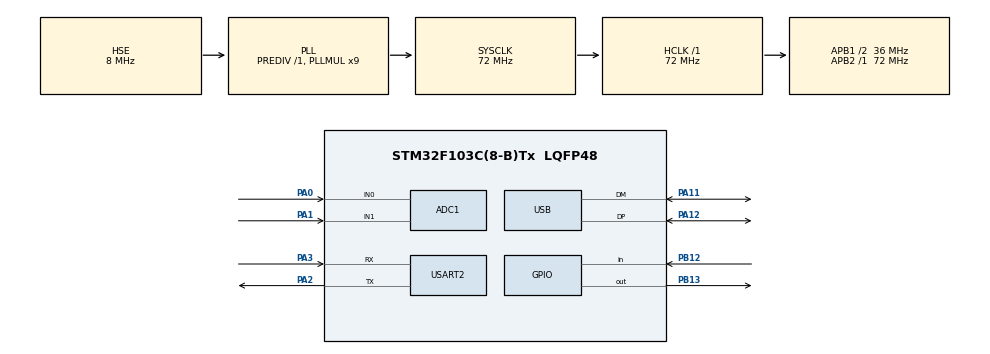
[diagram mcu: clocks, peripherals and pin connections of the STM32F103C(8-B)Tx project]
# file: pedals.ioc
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ADC1.Channel-3\#ChannelRegularConversion=ADC_CHANNEL_0
ADC1.Channel-4\#ChannelRegularConversion=ADC_CHANNEL_1
ADC1.ContinuousConvMode=DISABLE
ADC1.ExternalTrigConv=ADC_EXTERNALTRIGCONV_T3_TRGO
ADC1.InjNumberOfConversion=0
ADC1.NbrOfConversion=2
ADC1.NbrOfConversionFlag=1
ADC1.Rank-3\#ChannelRegularConversion=1
ADC1.Rank-4\#ChannelRegularConversion=2
ADC1.SamplingTime-3\#ChannelRegularConversion=ADC_SAMPLETIME_1CYCLE_5
ADC1.SamplingTime-4\#ChannelRegularConversion=ADC_SAMPLETIME_1CYCLE_5
ADC1.master=1
Dma.ADC1.0.Direction=DMA_PERIPH_TO_MEMORY
Dma.ADC1.0.Instance=DMA1_Channel1
Dma.ADC1.0.MemDataAlignment=DMA_MDATAALIGN_HALFWORD
Dma.ADC1.0.MemInc=DMA_MINC_ENABLE
Dma.ADC1.0.Mode=DMA_CIRCULAR
Dma.ADC1.0.PeriphDataAlignment=DMA_PDATAALIGN_HALFWORD
Dma.ADC1.0.PeriphInc=DMA_PINC_DISABLE
Dma.ADC1.0.Priority=DMA_PRIORITY_MEDIUM
Dma.Request0=ADC1
Mcu.Family=STM32F1
Mcu.Name=STM32F103C(8-B)Tx
Mcu.Package=LQFP48
NVIC.DMA1_Channel1_IRQn=true\:0\:0\:false\:false\:true\:false\:true
NVIC.PriorityGroup=NVIC_PRIORITYGROUP_4
NVIC.TIM3_IRQn=true\:0\:0\:false\:false\:true\:true\:true
NVIC.USB_LP_CAN1_RX0_IRQn=true\:0\:0\:false\:false\:true\:true\:true
PA0-WKUP.Signal=ADCx_IN0
PA1.Signal=ADCx_IN1
PA11.Mode=Device
PA11.Signal=USB_DM
PA12.Mode=Device
PA12.Signal=USB_DP
PA13.Mode=Serial_Wire
PA13.Signal=SYS_JTMS-SWDIO
PA14.Mode=Serial_Wire
PA14.Signal=SYS_JTCK-SWCLK
PA2.Mode=Asynchronous
PA2.Signal=USART2_TX
PA3.Mode=Asynchronous
PA3.Signal=USART2_RX
PB12.GPIO_PuPd=GPIO_PULLUP
PB12.Signal=GPIO_Input
PB13.Signal=GPIO_Output
PD0-OSC_IN.Mode=HSE-External-Oscillator
PD0-OSC_IN.Signal=RCC_OSC_IN
PD1-OSC_OUT.Mode=HSE-External-Oscillator
PD1-OSC_OUT.Signal=RCC_OSC_OUT
ProjectManager.HeapSize=0x200
ProjectManager.StackSize=0x400
ProjectManager.TargetToolchain=Makefile
RCC.ADCPresc=RCC_ADCPCLK2_DIV6
RCC.AHBFreq_Value=72000000
RCC.APB1CLKDivider=RCC_HCLK_DIV2
RCC.APB1Freq_Value=36000000
RCC.APB1TimFreq_Value=72000000
RCC.APB2Freq_Value=72000000
RCC.APB2TimFreq_Value=72000000
RCC.HCLKFreq_Value=72000000
RCC.PLLMUL=RCC_PLL_MUL9
RCC.SYSCLKFreq_VALUE=72000000
RCC.SYSCLKSource=RCC_SYSCLKSOURCE_PLLCLK
RCC.USBFreq_Value=48000000
RCC.USBPrescaler=RCC_USBCLKSOURCE_PLL_DIV1_5
SH.ADCx_IN0.0=ADC1_IN0,IN0
SH.ADCx_IN1.0=ADC1_IN1,IN1
TIM3.Period=1000
TIM3.Prescaler=48
TIM3.TIM_MasterOutputTrigger=TIM_TRGO_UPDATE
USART2.VirtualMode=VM_ASYNC
USB.ep0_mps=DEP0CTL_MPS_64
USB_DEVICE.CLASS_NAME_FS=HID
USB_DEVICE.MANUFACTURER_STRING=Aleck
USB_DEVICE.PID_HID_FS=0x5757
USB_DEVICE.PRODUCT_STRING_HID_FS=Sim Pedals
USB_DEVICE.VID=0x0483
USB_DEVICE.VirtualMode=Hid
USB_DEVICE.VirtualModeFS=Hid_FS
VP_TIM3_VS_ClockSourceINT.Mode=Internal
VP_USB_DEVICE_VS_USB_DEVICE_HID_FS.Mode=HID_FS
board=hid_joystick_stm32

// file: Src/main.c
/* USER CODE BEGIN Header */
/**
 ******************************************************************************
 * @file           : main.c
 * @brief          : Main program body
 ******************************************************************************
 * @attention
 *
 * <h2><center>&copy; Copyright (c) 2019 STMicroelectronics.
 * All rights reserved.</center></h2>
 *
 * This software component is licensed by ST under Ultimate Liberty license
 * SLA0044, the "License"; You may not use this file except in compliance with
 * the License. You may obtain a copy of the License at:
 *                             www.st.com/SLA0044
 *
 ******************************************************************************
 */
/* USER CODE END Header */

#include "main.h"
#include "adc.h"
#include "dma.h"
#include "tim.h"
#include "usart.h"
#include "usb_device.h"
#include "gpio.h"

/* USER CODE BEGIN Includes */

//#include "usbd_custom_hid_if.h"
#include "usbd_hid.h"
#include "hx711.h"
#include "string.h"
/* USER CODE END Includes */

void SystemClock_Config(void);

/* USER CODE BEGIN 0 */

extern USBD_HandleTypeDef hUsbDeviceFS;

/* Report Data ---------------------------------------------------------------*/
/* 		0x0d | 0x00, 0x00 | 0x00, 0x00 | 0x00, 0x00
 * Report_id | throttle   | brake      | clutch
 */
uint8_t reportData[7] = { 13, };
volatile uint16_t ADCData[2];
char trans_str[128] = { 0, };

HX711 hx711 = { GPIOB, GPIOB,
GPIO_PIN_13,
GPIO_PIN_12, 0, 128

};
int32_t hx711_buf;
uint16_t hx711_val;

uint8_t offsetCounter = 10;
uint16_t adcOffset0 = 0, adcOffset1 = 0;
int16_t adcData0 = 0, adcData1 = 0;

/* USER CODE END 0 */

int main(void) {

	/* MCU Configuration--------------------------------------------------------*/

	/* Reset of all peripherals, Initializes the Flash interface and the Systick. */
	HAL_Init();

	/* Configure the system clock */
	SystemClock_Config();

	/* Initialize all configured peripherals */
	MX_GPIO_Init();
	MX_DMA_Init();
	MX_USB_DEVICE_Init();
	MX_ADC1_Init();
	MX_TIM3_Init();
	MX_USART2_UART_Init();
	/* USER CODE BEGIN 2 */

	HAL_TIM_Base_Start(&htim3);
	HAL_ADCEx_Calibration_Start(&hadc1);
	HAL_ADC_Start_DMA(&hadc1, (uint32_t*) ADCData, 2);
	hx711 = HX711_Tare(hx711);
	/* USER CODE END 2 */

	/* Infinite loop */
	while (1) {

		/* USER CODE BEGIN 3 */
		hx711_buf = HX711_Value(hx711) / 40;
		hx711_val = hx711_buf > 65535 ? 65535 : hx711_buf;
		hx711_val = hx711_val < 5000 ? 0 : hx711_val;

		reportData[3] = hx711_val & 0xff;
		reportData[4] = hx711_val >> 8;

		snprintf(trans_str, 127, "ADC0: %4d ADC1: %4d HX711: %d\r\n",
				ADCData[0], ADCData[1], hx711_val);
		HAL_UART_Transmit(&huart2, (uint8_t*) trans_str, strlen(trans_str),
				1000);

		USBD_HID_SendReport(&hUsbDeviceFS, reportData, 7);
	}
	/* USER CODE END 3 */
}

void SystemClock_Config(void) {
	RCC_OscInitTypeDef RCC_OscInitStruct = { 0 };
	RCC_ClkInitTypeDef RCC_ClkInitStruct = { 0 };
	RCC_PeriphCLKInitTypeDef PeriphClkInit = { 0 };

	/** Initializes the CPU, AHB and APB busses clocks
	 */
	RCC_OscInitStruct.OscillatorType = RCC_OSCILLATORTYPE_HSE;
	RCC_OscInitStruct.HSEState = RCC_HSE_ON;
	RCC_OscInitStruct.HSEPredivValue = RCC_HSE_PREDIV_DIV1;
	RCC_OscInitStruct.HSIState = RCC_HSI_ON;
	RCC_OscInitStruct.PLL.PLLState = RCC_PLL_ON;
	RCC_OscInitStruct.PLL.PLLSource = RCC_PLLSOURCE_HSE;
	RCC_OscInitStruct.PLL.PLLMUL = RCC_PLL_MUL9;
	if (HAL_RCC_OscConfig(&RCC_OscInitStruct) != HAL_OK) {
		Error_Handler();
	}
	/** Initializes the CPU, AHB and APB busses clocks
	 */
	RCC_ClkInitStruct.ClockType = RCC_CLOCKTYPE_HCLK | RCC_CLOCKTYPE_SYSCLK
			| RCC_CLOCKTYPE_PCLK1 | RCC_CLOCKTYPE_PCLK2;
	RCC_ClkInitStruct.SYSCLKSource = RCC_SYSCLKSOURCE_PLLCLK;
	RCC_ClkInitStruct.AHBCLKDivider = RCC_SYSCLK_DIV1;
	RCC_ClkInitStruct.APB1CLKDivider = RCC_HCLK_DIV2;
	RCC_ClkInitStruct.APB2CLKDivider = RCC_HCLK_DIV1;

	if (HAL_RCC_ClockConfig(&RCC_ClkInitStruct, FLASH_LATENCY_2) != HAL_OK) {
		Error_Handler();
	}
	PeriphClkInit.PeriphClockSelection = RCC_PERIPHCLK_ADC | RCC_PERIPHCLK_USB;
	PeriphClkInit.AdcClockSelection = RCC_ADCPCLK2_DIV6;
	PeriphClkInit.UsbClockSelection = RCC_USBCLKSOURCE_PLL_DIV1_5;
	if (HAL_RCCEx_PeriphCLKConfig(&PeriphClkInit) != HAL_OK) {
		Error_Handler();
	}
}

/* USER CODE BEGIN 4 */

int16_t formatAdcData(int16_t data, uint16_t min, uint16_t max,
		uint16_t hud_max) {
	if (data < min)
		return 0;
	if (data > max)
		return hud_max;
	return data;
}

void HAL_ADC_ConvCpltCallback(ADC_HandleTypeDef *hadc) {
	if (hadc->Instance == ADC1) {
		if (offsetCounter != 0) {
			adcOffset0 += ADCData[0];
			adcOffset1 += ADCData[1];
			offsetCounter--;
			if (offsetCounter == 0) {
				adcOffset0 /= 10;
				adcOffset1 /= 10;
			}
		}

		adcData0 = formatAdcData(ADCData[0] - adcOffset0, 70, 850, 900);
		adcData1 = formatAdcData(ADCData[1] - adcOffset1, 60, 1150, 1200);

		reportData[1] = adcData0 & 0xff;
		reportData[2] = adcData0 >> 8;
		reportData[5] = adcData1 & 0xff;
		reportData[6] = adcData1 >> 8;

	}
}

/* USER CODE END 4 */

void Error_Handler(void) {
}

/************************ (C) COPYRIGHT STMicroelectronics *****END OF FILE****/
